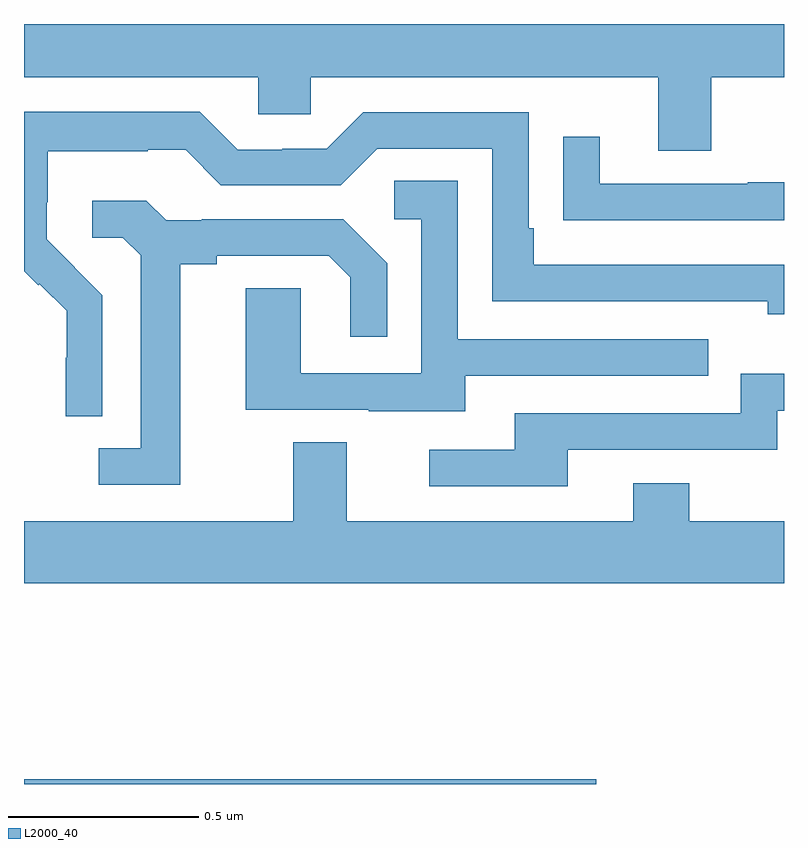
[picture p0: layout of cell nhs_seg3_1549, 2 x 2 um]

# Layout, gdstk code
import gdstk
lib = gdstk.Library(unit=1e-6, precision=1e-09)
def R(c, l, rs):  # rectangles x0, y0, x1, y1
    for r in rs: c.add(gdstk.rectangle(r[:2], r[2:], *l))
def P(c, l, *ps):  # polygons
    for p in ps: c.add(gdstk.Polygon(p, *l))
L2000_40 = (2000, 40)

nhs_seg3_1549 = lib.new_cell('nhs_seg3_1549')
R(nhs_seg3_1549, L2000_40, [(130,688.4,131.506,688.412)])
P(nhs_seg3_1549, L2000_40, [(131.809,690.26),(132,690.26),(132,690.4),(130,690.4),(130,690.26),(130.617,690.26),(130.617,690.162),(130.755,690.162),(130.755,690.26),(131.669,690.26),(131.669,690.066),(131.809,690.066)],
  [(130.206,689.686),(130.133,689.759),(130.134,689.76),(130.06,689.834),(130.06,689.931),(130.062,689.931),(130.062,690.065),(130.325,690.065),(130.325,690.069),(130.425,690.069),(130.518,689.976),(130.833,689.976),(130.929,690.072),(131.232,690.072),(131.232,689.67),(131.957,689.67),(131.957,689.636),(132,689.636),(132,689.766),(131.341,689.766),(131.341,689.863),(131.328,689.863),(131.328,690.168),(130.893,690.168),(130.797,690.072),(130.679,690.072),(130.679,690.069),(130.563,690.069),(130.463,690.169),(130,690.169),(130,689.75),(130.038,689.712),(130.041,689.715),(130.112,689.645),(130.112,689.522),(130.11,689.522),(130.11,689.368),(130.206,689.368)],
  [(132,689.984),(131.905,689.984),(131.905,689.979),(131.515,689.979),(131.515,690.103),(131.419,690.103),(131.419,689.884),(131.521,689.884),(131.521,689.883),(132,689.883)],
  [(131.161,689.475),(131.801,689.475),(131.801,689.571),(131.142,689.571),(131.142,689.987),(130.974,689.987),(130.974,689.886),(131.046,689.886),(131.046,689.481),(130.728,689.481),(130.728,689.705),(130.583,689.705),(130.583,689.385),(130.907,689.385),(130.907,689.381),(131.161,689.381)],
  [(130.411,689.768),(130.507,689.768),(130.507,689.79),(130.802,689.79),(130.859,689.733),(130.859,689.577),(130.956,689.577),(130.956,689.77),(130.84,689.886),(130.468,689.886),(130.468,689.883),(130.374,689.883),(130.322,689.935),(130.179,689.935),(130.179,689.838),(130.26,689.838),(130.307,689.791),(130.307,689.283),(130.197,689.283),(130.197,689.187),(130.411,689.187)],
  [(131.431,689.28),(131.982,689.28),(131.982,689.382),(132,689.382),(132,689.479),(131.886,689.479),(131.886,689.376),(131.291,689.376),(131.291,689.28),(131.067,689.28),(131.067,689.184),(131.431,689.184)],
  [(132,689.092),(131.751,689.092),(131.751,689.191),(131.603,689.191),(131.603,689.092),(130.849,689.092),(130.849,689.3),(130.709,689.3),(130.709,689.092),(130,689.092),(130,688.928),(132,688.928)])

lib.write_gds('nhs_seg3_1549.gds')
